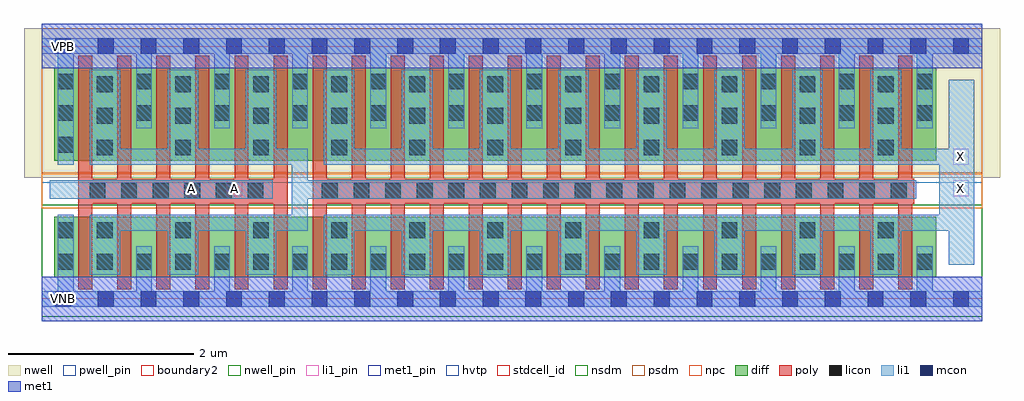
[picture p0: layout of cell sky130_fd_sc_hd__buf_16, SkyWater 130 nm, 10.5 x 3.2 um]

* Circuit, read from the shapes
.subckt sky130_fd_sc_hd__buf_16 A VGND VNB VPB VPWR X
XM1 n1 A VGND VNB sky130_fd_pr__nfet_01v8 w=0.65 l=0.15 m=6
XM2 X n1 VGND VNB sky130_fd_pr__nfet_01v8 w=0.65 l=0.15 m=16
XM3 n1 A VPWR VPB sky130_fd_pr__pfet_01v8_hvt w=1 l=0.15 m=6
XM4 X n1 VPWR VPB sky130_fd_pr__pfet_01v8_hvt w=1 l=0.15 m=16
.ends

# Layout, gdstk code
import gdstk
lib = gdstk.Library(unit=1e-6, precision=1e-09)
def R(c, l, rs):  # rectangles x0, y0, x1, y1
    for r in rs: c.add(gdstk.rectangle(r[:2], r[2:], *l))
def A(c, l, x, y, w, h, nx, ny, dx, dy):  # array of equal rectangles
    R(c, l, [(x+i*dx, y+j*dy, x+i*dx+w, y+j*dy+h) for i in range(nx) for j in range(ny)])
def P(c, l, *ps):  # polygons
    for p in ps: c.add(gdstk.Polygon(p, *l))
nwell_pin = (64, 16)
nwell = (64, 20)
diff = (65, 20)
poly = (66, 20)
licon = (66, 44)
li1_pin = (67, 16)
li1 = (67, 20)
mcon = (67, 44)
met1_pin = (68, 16)
met1 = (68, 20)
hvtp = (78, 44)
stdcell_id = (81, 4)
nsdm = (93, 44)
psdm = (94, 20)
npc = (95, 20)
pwell_pin = (122, 16)
boundary2 = (236, 0)

sky130_fd_sc_hd__buf_16 = lib.new_cell('sky130_fd_sc_hd__buf_16')
R(sky130_fd_sc_hd__buf_16, nwell_pin, [(0.15,2.635,0.32,2.805)])
R(sky130_fd_sc_hd__buf_16, nwell, [(-0.19,1.305,10.31,2.91)])
R(sky130_fd_sc_hd__buf_16, diff, [(0.135,0.235,9.625,0.885), (0.135,1.485,9.625,2.485)])
P(sky130_fd_sc_hd__buf_16, poly, [(2.645,2.615),(2.495,2.615),(2.495,1.295),(2.225,1.295),(2.225,2.615),(2.075,2.615),(2.075,1.295),(1.805,1.295),(1.805,2.615),(1.655,2.615),(1.655,1.295),(1.385,1.295),(1.385,2.615),(1.235,2.615),(1.235,1.295),(0.965,1.295),(0.965,2.615),(0.815,2.615),(0.815,1.295),(0.545,1.295),(0.545,2.615),(0.395,2.615),(0.395,0.105),(0.545,0.105),(0.545,1.025),(0.815,1.025),(0.815,0.105),(0.965,0.105),(0.965,1.025),(1.235,1.025),(1.235,0.105),(1.385,0.105),(1.385,1.025),(1.655,1.025),(1.655,0.105),(1.805,0.105),(1.805,1.025),(2.075,1.025),(2.075,0.105),(2.225,0.105),(2.225,1.025),(2.495,1.025),(2.495,0.105),(2.645,0.105)],
  [(9.365,2.615),(9.215,2.615),(9.215,1.295),(8.945,1.295),(8.945,2.615),(8.795,2.615),(8.795,1.295),(8.525,1.295),(8.525,2.615),(8.375,2.615),(8.375,1.295),(8.105,1.295),(8.105,2.615),(7.955,2.615),(7.955,1.295),(7.685,1.295),(7.685,2.615),(7.535,2.615),(7.535,1.295),(7.265,1.295),(7.265,2.615),(7.115,2.615),(7.115,1.295),(6.845,1.295),(6.845,2.615),(6.695,2.615),(6.695,1.295),(6.425,1.295),(6.425,2.615),(6.275,2.615),(6.275,1.295),(6.005,1.295),(6.005,2.615),(5.855,2.615),(5.855,1.295),(5.585,1.295),(5.585,2.615),(5.435,2.615),(5.435,1.295),(5.165,1.295),(5.165,2.615),(5.015,2.615),(5.015,1.295),(4.745,1.295),(4.745,2.615),(4.595,2.615),(4.595,1.295),(4.325,1.295),(4.325,2.615),(4.175,2.615),(4.175,1.295),(3.905,1.295),(3.905,2.615),(3.755,2.615),(3.755,1.295),(3.485,1.295),(3.485,2.615),(3.335,2.615),(3.335,1.295),(3.065,1.295),(3.065,2.615),(2.915,2.615),(2.915,0.105),(3.065,0.105),(3.065,1.025),(3.335,1.025),(3.335,0.105),(3.485,0.105),(3.485,1.025),(3.755,1.025),(3.755,0.105),(3.905,0.105),(3.905,1.025),(4.175,1.025),(4.175,0.105),(4.325,0.105),(4.325,1.025),(4.595,1.025),(4.595,0.105),(4.745,0.105),(4.745,1.025),(5.015,1.025),(5.015,0.105),(5.165,0.105),(5.165,1.025),(5.435,1.025),(5.435,0.105),(5.585,0.105),(5.585,1.025),(5.855,1.025),(5.855,0.105),(6.005,0.105),(6.005,1.025),(6.275,1.025),(6.275,0.105),(6.425,0.105),(6.425,1.025),(6.695,1.025),(6.695,0.105),(6.845,0.105),(6.845,1.025),(7.115,1.025),(7.115,0.105),(7.265,0.105),(7.265,1.025),(7.535,1.025),(7.535,0.105),(7.685,0.105),(7.685,1.025),(7.955,1.025),(7.955,0.105),(8.105,0.105),(8.105,1.025),(8.375,1.025),(8.375,0.105),(8.525,0.105),(8.525,1.025),(8.795,1.025),(8.795,0.105),(8.945,0.105),(8.945,1.025),(9.215,1.025),(9.215,0.105),(9.365,0.105),(9.365,1.025),(9.385,1.025),(9.385,1.295),(9.365,1.295)])
A(sky130_fd_sc_hd__buf_16, licon, 0.175, 0.315, 0.17, 0.17, 23, 1, 0.42, 0)
A(sky130_fd_sc_hd__buf_16, licon, 0.595, 0.655, 0.17, 0.17, 11, 2, 0.84, 0.89)
A(sky130_fd_sc_hd__buf_16, licon, 0.515, 1.075, 0.17, 0.17, 6, 1, 0.34, 0)
A(sky130_fd_sc_hd__buf_16, licon, 3.015, 1.075, 0.17, 0.17, 19, 1, 0.34, 0)
A(sky130_fd_sc_hd__buf_16, licon, 0.595, 1.885, 0.17, 0.17, 11, 2, 0.84, 0.34)
A(sky130_fd_sc_hd__buf_16, licon, 0.175, 1.915, 0.17, 0.17, 12, 2, 0.84, 0.34)
R(sky130_fd_sc_hd__buf_16, licon, [(0.175,0.655,0.345,0.825), (0.175,1.575,0.345,1.745)])
R(sky130_fd_sc_hd__buf_16, li1_pin, [(1.53,1.105,1.7,1.275), (1.99,1.105,2.16,1.275), (9.805,1.105,9.975,1.275), (9.805,1.445,9.975,1.615)])
R(sky130_fd_sc_hd__buf_16, li1, [(0.085,1.075,2.485,1.275)])
P(sky130_fd_sc_hd__buf_16, li1, [(10.12,0.085),(9.585,0.085),(9.585,0.565),(9.415,0.565),(9.415,0.085),(8.745,0.085),(8.745,0.565),(8.575,0.565),(8.575,0.085),(7.905,0.085),(7.905,0.565),(7.735,0.565),(7.735,0.085),(7.065,0.085),(7.065,0.565),(6.895,0.565),(6.895,0.085),(6.225,0.085),(6.225,0.565),(6.055,0.565),(6.055,0.085),(5.385,0.085),(5.385,0.565),(5.215,0.565),(5.215,0.085),(4.545,0.085),(4.545,0.565),(4.375,0.565),(4.375,0.085),(3.705,0.085),(3.705,0.565),(3.535,0.565),(3.535,0.085),(2.865,0.085),(2.865,0.565),(2.695,0.565),(2.695,0.085),(2.025,0.085),(2.025,0.565),(1.855,0.565),(1.855,0.085),(1.185,0.085),(1.185,0.565),(1.015,0.565),(1.015,0.085),(0.345,0.085),(0.345,0.905),(0.175,0.905),(0.175,0.085),(0,0.085),(0,-0.085),(10.12,-0.085)],
  [(10.12,2.805),(0,2.805),(0,2.635),(0.175,2.635),(0.175,1.445),(0.345,1.445),(0.345,2.635),(1.015,2.635),(1.015,1.835),(1.185,1.835),(1.185,2.635),(1.855,2.635),(1.855,1.835),(2.025,1.835),(2.025,2.635),(2.695,2.635),(2.695,1.835),(2.865,1.835),(2.865,2.635),(3.535,2.635),(3.535,1.835),(3.705,1.835),(3.705,2.635),(4.375,2.635),(4.375,1.835),(4.545,1.835),(4.545,2.635),(5.215,2.635),(5.215,1.835),(5.385,1.835),(5.385,2.635),(6.055,2.635),(6.055,1.835),(6.225,1.835),(6.225,2.635),(6.895,2.635),(6.895,1.835),(7.065,1.835),(7.065,2.635),(7.735,2.635),(7.735,1.835),(7.905,1.835),(7.905,2.635),(8.575,2.635),(8.575,1.835),(8.745,1.835),(8.745,2.635),(9.415,2.635),(9.415,1.835),(9.585,1.835),(9.585,2.635),(10.12,2.635)],
  [(9.41,1.275),(2.865,1.275),(2.865,1.615),(2.525,1.615),(2.525,2.465),(2.195,2.465),(2.195,1.615),(1.685,1.615),(1.685,2.465),(1.355,2.465),(1.355,1.615),(0.845,1.615),(0.845,2.465),(0.515,2.465),(0.515,1.445),(2.69,1.445),(2.69,0.905),(0.515,0.905),(0.515,0.26),(0.845,0.26),(0.845,0.735),(1.355,0.735),(1.355,0.26),(1.685,0.26),(1.685,0.735),(2.195,0.735),(2.195,0.26),(2.525,0.26),(2.525,0.735),(2.865,0.735),(2.865,1.075),(9.41,1.075)],
  [(10.035,2.36),(9.76,2.36),(9.76,1.615),(9.245,1.615),(9.245,2.465),(8.915,2.465),(8.915,1.615),(8.405,1.615),(8.405,2.465),(8.075,2.465),(8.075,1.615),(7.565,1.615),(7.565,2.465),(7.235,2.465),(7.235,1.615),(6.725,1.615),(6.725,2.465),(6.395,2.465),(6.395,1.615),(5.885,1.615),(5.885,2.465),(5.555,2.465),(5.555,1.615),(5.045,1.615),(5.045,2.465),(4.715,2.465),(4.715,1.615),(4.205,1.615),(4.205,2.465),(3.875,2.465),(3.875,1.615),(3.365,1.615),(3.365,2.465),(3.035,2.465),(3.035,1.445),(9.655,1.445),(9.655,0.905),(3.035,0.905),(3.035,0.255),(3.285,0.255),(3.285,0.26),(3.365,0.26),(3.365,0.735),(3.875,0.735),(3.875,0.26),(3.955,0.26),(3.955,0.255),(4.125,0.255),(4.125,0.26),(4.205,0.26),(4.205,0.735),(4.715,0.735),(4.715,0.26),(4.795,0.26),(4.795,0.255),(4.965,0.255),(4.965,0.26),(5.045,0.26),(5.045,0.735),(5.555,0.735),(5.555,0.26),(5.885,0.26),(5.885,0.735),(6.395,0.735),(6.395,0.26),(6.725,0.26),(6.725,0.735),(7.235,0.735),(7.235,0.26),(7.565,0.26),(7.565,0.735),(8.075,0.735),(8.075,0.26),(8.405,0.26),(8.405,0.735),(8.915,0.735),(8.915,0.26),(9.245,0.26),(9.245,0.735),(9.76,0.735),(9.76,0.365),(10.035,0.365)])
A(sky130_fd_sc_hd__buf_16, mcon, 0.145, -0.085, 0.17, 0.17, 22, 2, 0.46, 2.72)
R(sky130_fd_sc_hd__buf_16, met1_pin, [(0.15,-0.085,0.32,0.085), (0.15,2.635,0.32,2.805)])
R(sky130_fd_sc_hd__buf_16, hvtp, [(0,1.25,10.12,2.72)])
R(sky130_fd_sc_hd__buf_16, stdcell_id, [(0,0,10.12,2.72)])
R(sky130_fd_sc_hd__buf_16, nsdm, [(0,-0.19,10.12,1.015)])
R(sky130_fd_sc_hd__buf_16, psdm, [(0,1.355,10.12,2.91)])
R(sky130_fd_sc_hd__buf_16, npc, [(0,0.975,10.12,1.345)])
R(sky130_fd_sc_hd__buf_16, pwell_pin, [(0.15,-0.085,0.32,0.085)])
R(sky130_fd_sc_hd__buf_16, boundary2, [(0,0,10.12,2.72)])
sky130_fd_sc_hd__buf_16.add(gdstk.FlexPath([(0,0),(10.12,0)], 0.48, ends="flush", simple_path=True, layer=68, datatype=20))  # met1
sky130_fd_sc_hd__buf_16.add(gdstk.FlexPath([(0,2.72),(10.12,2.72)], 0.48, ends="flush", simple_path=True, layer=68, datatype=20))  # met1
sky130_fd_sc_hd__buf_16.add(gdstk.Label('A', (2.075,1.19), layer=67, texttype=5))
sky130_fd_sc_hd__buf_16.add(gdstk.Label('A', (1.615,1.19), layer=67, texttype=5))
sky130_fd_sc_hd__buf_16.add(gdstk.Label('X', (9.89,1.19), layer=67, texttype=5))
sky130_fd_sc_hd__buf_16.add(gdstk.Label('X', (9.89,1.53), layer=67, texttype=5))
sky130_fd_sc_hd__buf_16.add(gdstk.Label('VNB', (0.235,0), layer=64, texttype=59))
sky130_fd_sc_hd__buf_16.add(gdstk.Label('VPB', (0.235,2.72), layer=64, texttype=5))
sky130_fd_sc_hd__buf_16.add(gdstk.Label('VGND', (0.23,0), layer=68, texttype=5))
sky130_fd_sc_hd__buf_16.add(gdstk.Label('VPWR', (0.23,2.72), layer=68, texttype=5))
sky130_fd_sc_hd__buf_16.add(gdstk.Label('buf_16', (0,0), layer=83, texttype=44))

lib.write_gds('sky130_fd_sc_hd__buf_16.gds')
